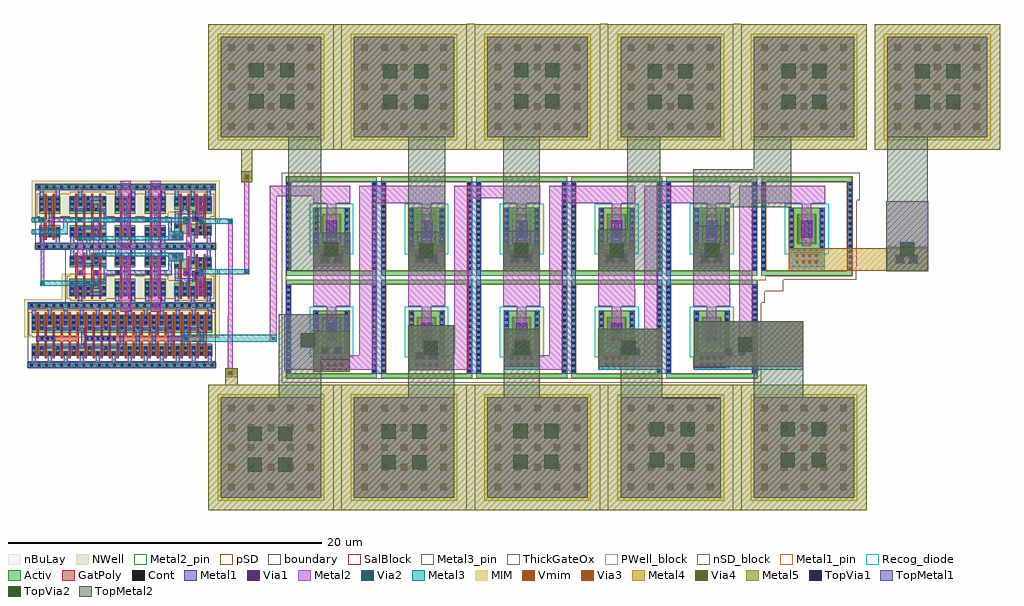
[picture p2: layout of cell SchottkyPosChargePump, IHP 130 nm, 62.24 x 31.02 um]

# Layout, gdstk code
from math import pi, radians
import gdstk
lib = gdstk.Library(unit=1e-6, precision=1e-09)
def R(c, l, rs):  # rectangles x0, y0, x1, y1
    for r in rs: c.add(gdstk.rectangle(r[:2], r[2:], *l))
def A(c, l, x, y, w, h, nx, ny, dx, dy):  # array of equal rectangles
    R(c, l, [(x+i*dx, y+j*dy, x+i*dx+w, y+j*dy+h) for i in range(nx) for j in range(ny)])
Activ = (1, 0)
GatPoly = (5, 0)
Cont = (6, 0)
nSD_block = (7, 21)
Metal1 = (8, 0)
Metal1_pin = (8, 2)
Metal2 = (10, 0)
Metal2_pin = (10, 2)
pSD = (14, 0)
Via1 = (19, 0)
SalBlock = (28, 0)
Via2 = (29, 0)
Metal3 = (30, 0)
Metal3_pin = (30, 2)
NWell = (31, 0)
nBuLay = (32, 0)
MIM = (36, 0)
ThickGateOx = (44, 0)
PWell_block = (46, 21)
Via3 = (49, 0)
Metal4 = (50, 0)
Via4 = (66, 0)
Metal5 = (67, 0)
Recog_diode = (99, 31)
TopVia1 = (125, 0)
TopMetal1 = (126, 0)
Vmim = (129, 0)
TopVia2 = (133, 0)
TopMetal2 = (134, 0)
boundary = (189, 4)

cap_cmim_5wsptj = lib.new_cell('cap_cmim_5WSPTJ')
R(cap_cmim_5wsptj, MIM, [(-3.4,-3.4,3.4,3.4)])
R(cap_cmim_5wsptj, Metal5, [(-4,-4,4,4)])
R(cap_cmim_5wsptj, TopMetal1, [(-3.2,-3.2,3.2,3.2)])
A(cap_cmim_5wsptj, Vmim, -2.73, -2.73, 0.42, 0.42, 5, 5, 1.26, 1.26)
R(cap_cmim_5wsptj, boundary, [(-4,-4,4,4)])
cap_cmim_5wsptj.add(gdstk.Label('C1', (0,0), layer=126, texttype=25))
cap_cmim_5wsptj.add(gdstk.Label('C2', (3.5,0), layer=67, texttype=25))

cmim = lib.new_cell('cmim')
cmim.add(gdstk.Reference(cap_cmim_5wsptj, (4,4)))

schottky_nbl1 = lib.new_cell('schottky_nbl1')
R(schottky_nbl1, Activ, [(-2.3,-2.38,3.5,-2.08), (-2.3,-2.08,-2,3.62), (3.2,-2.08,3.5,3.62), (-0.55,-0.4,1.75,2.3), (-2.3,3.62,3.5,3.92)])
A(schottky_nbl1, Cont, -2.23, -1.99, 0.16, 0.16, 1, 3, 0, 0.355)
A(schottky_nbl1, Cont, 3.27, -1.99, 0.16, 0.16, 1, 3, 0, 0.355)
A(schottky_nbl1, Cont, -0.45, 0.08, 0.16, 0.16, 1, 3, 0, 0.395)
A(schottky_nbl1, Cont, 1.49, 0.08, 0.16, 0.16, 1, 3, 0, 0.395)
A(schottky_nbl1, Cont, -0.45, 1.26, 0.16, 0.16, 1, 3, 0, 0.395)
A(schottky_nbl1, Cont, 1.49, 1.26, 0.16, 0.16, 1, 3, 0, 0.395)
R(schottky_nbl1, Cont, [(-2.23,-0.92,-2.07,-0.76), (3.27,-0.92,3.43,-0.76), (-2.23,-0.565,-2.07,-0.405), (3.27,-0.565,3.43,-0.405), (-0.45,-0.31,-0.29,-0.15), (1.49,-0.31,1.65,-0.15), (-2.23,-0.205,-2.07,-0.045), (3.27,-0.205,3.43,-0.045), (-2.23,0.15,-2.07,0.31), (3.27,0.15,3.43,0.31), (0.45,0.45,0.75,1.45), (-2.23,0.51,-2.07,0.67), (3.27,0.51,3.43,0.67), (-2.23,0.865,-2.07,1.025), (3.27,0.865,3.43,1.025), (-2.23,1.225,-2.07,1.385), (3.27,1.225,3.43,1.385), (-2.23,1.58,-2.07,1.74), (3.27,1.58,3.43,1.74), (-2.23,1.94,-2.07,2.1), (3.27,1.94,3.43,2.1), (-2.23,2.295,-2.07,2.455), (3.27,2.295,3.43,2.455), (-2.23,2.655,-2.07,2.815), (3.27,2.655,3.43,2.815), (-2.23,3.01,-2.07,3.17), (3.27,3.01,3.43,3.17), (-2.23,3.37,-2.07,3.53), (3.27,3.37,3.43,3.53)])
R(schottky_nbl1, nSD_block, [(0.05,0.05,1.15,1.85)])
R(schottky_nbl1, Metal1, [(-2.3,-2.08,-2,3.62), (3.2,-2.08,3.5,3.62), (-0.55,-0.4,-0.23,2.3), (1.43,-0.4,1.75,2.3), (0.25,0.38,0.95,1.52), (-0.55,2.3,1.75,3.355)])
R(schottky_nbl1, Metal2, [(-0.58,-1.815,1.78,-0.695), (0.295,-0.695,0.905,2.005)])
R(schottky_nbl1, pSD, [(-2.33,-2.41,3.53,-2.05), (-2.33,-2.05,-1.97,3.59), (3.17,-2.05,3.53,3.59), (-2.33,3.59,3.53,3.95)])
A(schottky_nbl1, Via1, 0.3, 0.43, 0.19, 0.19, 1, 3, 0, 0.425)
A(schottky_nbl1, Via1, 0.71, 0.43, 0.19, 0.19, 1, 3, 0, 0.425)
R(schottky_nbl1, SalBlock, [(0,0,1.2,1.9)])
R(schottky_nbl1, NWell, [(-0.8,-0.65,2,0.15), (-0.8,0.15,0.15,1.75), (1.05,0.15,2,1.75), (-0.8,1.75,2,2.55)])
R(schottky_nbl1, nBuLay, [(-0.55,-0.42,1.75,2.32)])
R(schottky_nbl1, ThickGateOx, [(-2.57,-2.65,4,-0.895), (-2.575,-1.895,3.85,-1.81), (-2.58,-1.81,3.78,3.35), (-2.575,3.35,3.775,3.445), (-2.57,3.445,3.77,4.19)])
R(schottky_nbl1, PWell_block, [(0.2,0.2,1,1.7)])
R(schottky_nbl1, Recog_diode, [(-0.8,-0.65,2,2.55)])

sg13g2_nor2_2 = lib.new_cell('sg13g2_nor2_2')
R(sg13g2_nor2_2, Activ, [(0,-0.15,2.88,0.15), (0.28,0.59,2.62,1.33), (0.26,2.06,2.62,3.18), (0,3.63,2.88,3.93)])
A(sg13g2_nor2_2, GatPoly, 0.62, 0.41, 0.13, 1.12, 4, 1, 0.51, 0)
A(sg13g2_nor2_2, GatPoly, 0.62, 1.84, 0.13, 1.52, 4, 1, 0.51, 0)
R(sg13g2_nor2_2, GatPoly, [(0.62,1.53,1.26,1.84), (1.64,1.53,2.28,1.84)])
A(sg13g2_nor2_2, Cont, 0.16, -0.08, 0.16, 0.16, 6, 2, 0.48, 3.78)
A(sg13g2_nor2_2, Cont, 0.35, 0.66, 0.16, 0.16, 5, 1, 0.51, 0)
A(sg13g2_nor2_2, Cont, 0.35, 2.61, 0.16, 0.16, 3, 2, 0.51, 0.34)
R(sg13g2_nor2_2, Cont, [(0.35,1,0.51,1.16), (0.86,1,1.02,1.16), (1.88,1,2.04,1.16), (0.86,1.605,1.02,1.765), (1.88,1.605,2.04,1.765), (0.35,2.27,0.51,2.43), (1.37,2.27,1.53,2.43), (1.88,2.27,2.04,2.43), (2.39,2.61,2.55,2.77), (2.39,2.95,2.55,3.11)])
R(sg13g2_nor2_2, Metal1, [(0,-0.22,2.88,0.22), (0.3,0.22,0.56,1.21), (1.32,0.22,1.58,0.87), (2.34,0.22,2.6,0.865), (1.83,0.59,2.085,1.075), (0.81,0.61,1.065,1.075), (0.81,1.075,2.6,1.24), (2.44,1.24,2.6,2.22), (0.75,1.53,1.13,1.84), (1.77,1.53,2.15,1.84), (0.3,2.22,1.58,2.38), (1.78,2.22,2.6,2.38), (0.3,2.38,0.56,3.16), (1.32,2.38,1.58,2.9), (1.78,2.38,2.09,2.72), (0.81,2.56,1.07,3.56), (2.34,2.56,2.6,2.9), (1.32,2.9,2.6,3.16), (0,3.56,2.88,4)])
R(sg13g2_nor2_2, Metal1_pin, [(0,-0.22,2.88,0.22), (0.75,1.53,1.13,1.84), (1.77,1.53,2.15,1.84), (1.78,2.22,2.09,2.72), (0,3.56,2.88,4)])
R(sg13g2_nor2_2, pSD, [(-0.03,-0.18,2.91,0.18), (0.32,1.76,2.58,1.88), (0.08,1.88,2.8,3.36), (0.32,3.36,2.58,3.48)])
R(sg13g2_nor2_2, NWell, [(-0.24,1.75,3.12,4.17)])
R(sg13g2_nor2_2, boundary, [(0,0,2.88,3.78)])
sg13g2_nor2_2.add(gdstk.Label('A', (0.94,1.685), layer=8, texttype=25))
sg13g2_nor2_2.add(gdstk.Label('VDD', (1.44,3.78), layer=8, texttype=25))
sg13g2_nor2_2.add(gdstk.Label('Y', (1.935,2.47), layer=8, texttype=25))
sg13g2_nor2_2.add(gdstk.Label('VSS', (1.44,0), layer=8, texttype=25))
sg13g2_nor2_2.add(gdstk.Label('B', (1.96,1.685), layer=8, texttype=25))

sg13g2_inv_2 = lib.new_cell('sg13g2_inv_2')
R(sg13g2_inv_2, Activ, [(0,-0.15,1.92,0.15), (0.265,0.59,1.585,1.33), (0.265,2.06,1.59,3.18), (0,3.63,1.92,3.93)])
R(sg13g2_inv_2, GatPoly, [(0.605,0.41,0.735,1.52), (1.115,0.41,1.245,1.52), (0.305,1.52,1.245,1.67), (0.305,1.67,0.735,1.85), (1.115,1.67,1.245,3.36), (0.605,1.85,0.735,3.36)])
A(sg13g2_inv_2, Cont, 0.16, -0.08, 0.16, 0.16, 4, 2, 0.48, 3.78)
A(sg13g2_inv_2, Cont, 0.335, 0.66, 0.16, 0.16, 3, 2, 0.51, 0.34)
A(sg13g2_inv_2, Cont, 0.335, 2.27, 0.16, 0.16, 1, 3, 0, 0.34)
A(sg13g2_inv_2, Cont, 0.845, 2.27, 0.16, 0.16, 1, 3, 0, 0.34)
A(sg13g2_inv_2, Cont, 1.36, 2.27, 0.16, 0.16, 1, 3, 0, 0.34)
R(sg13g2_inv_2, Cont, [(0.39,1.605,0.55,1.765)])
R(sg13g2_inv_2, Metal1, [(0,-0.22,1.92,0.22), (0.285,0.22,0.545,1.21), (1.305,0.22,1.565,1.21), (0.795,0.61,1.055,1.21), (0.87,1.21,1.055,1.52), (0.255,1.52,0.635,1.85), (0.87,1.52,1.59,1.85), (0.87,1.85,1.055,2.22), (0.285,2.22,0.545,3.56), (0.795,2.22,1.055,3.18), (1.31,2.22,1.57,3.56), (0,3.56,1.92,4)])
R(sg13g2_inv_2, Metal1_pin, [(0,-0.22,1.92,0.22), (0.255,1.52,0.635,1.85), (0.87,1.52,1.59,1.85), (0,3.56,1.92,4)])
R(sg13g2_inv_2, pSD, [(-0.03,-0.18,1.95,0.18), (0.305,1.76,1.545,1.88), (0.085,1.88,1.77,3.36), (0.305,3.36,1.545,3.48)])
R(sg13g2_inv_2, NWell, [(-0.24,1.75,2.16,4.17)])
R(sg13g2_inv_2, boundary, [(0,0,1.92,3.78)])
sg13g2_inv_2.add(gdstk.Label('VSS', (0.96,0), layer=8, texttype=25))
sg13g2_inv_2.add(gdstk.Label('VDD', (0.96,3.78), layer=8, texttype=25))
sg13g2_inv_2.add(gdstk.Label('Y', (1.23,1.685), layer=8, texttype=25))
sg13g2_inv_2.add(gdstk.Label('A', (0.445,1.685), layer=8, texttype=25))

sg13g2_and2_2 = lib.new_cell('sg13g2_and2_2')
R(sg13g2_and2_2, Activ, [(0,-0.15,2.88,0.15), (1.355,0.7,2.605,0.8), (0.225,0.8,2.605,1.44), (1.355,2.06,2.605,2.34), (0.225,2.34,2.605,3.18), (0,3.63,2.88,3.93)])
A(sg13g2_and2_2, GatPoly, 1.075, 1.9, 0.13, 1.46, 3, 1, 0.51, 0)
R(sg13g2_and2_2, GatPoly, [(0.105,0.41,0.775,0.73), (1.585,0.52,1.715,1.57), (2.095,0.52,2.225,1.57), (1.075,0.62,1.205,1.57), (0.565,0.73,0.695,3.36), (0.875,1.57,1.205,1.9), (1.385,1.57,2.225,1.9)])
A(sg13g2_and2_2, Cont, 0.16, -0.08, 0.16, 0.16, 6, 2, 0.48, 3.78)
A(sg13g2_and2_2, Cont, 0.295, 2.61, 0.16, 0.16, 5, 2, 0.51, 0.34)
R(sg13g2_and2_2, Cont, [(0.19,0.48,0.35,0.64), (0.53,0.48,0.69,0.64), (1.825,0.77,1.985,0.93), (2.335,0.77,2.495,0.93), (1.315,0.935,1.475,1.095), (1.825,1.11,1.985,1.27), (2.335,1.11,2.495,1.27), (0.295,1.18,0.455,1.34), (0.96,1.655,1.12,1.815), (1.53,1.655,1.69,1.815), (1.825,2.27,1.985,2.43), (2.335,2.27,2.495,2.43)])
R(sg13g2_and2_2, Metal1, [(0,-0.22,2.88,0.22), (1.265,0.22,1.525,1.145), (2.285,0.22,2.545,1.32), (0.105,0.405,0.78,0.96), (1.775,0.72,2.105,1.32), (0.245,1.14,0.505,2.05), (1.92,1.32,2.105,2.22), (0.78,1.47,1.17,1.87), (1.4,1.57,1.74,1.9), (1.4,1.9,1.56,2.05), (0.245,2.05,1.56,2.24), (1.775,2.22,2.105,3.16), (2.285,2.22,2.545,3.56), (0.755,2.24,1.015,3.16), (0.245,2.56,0.505,3.56), (1.265,2.56,1.525,3.56), (0,3.56,2.88,4)])
R(sg13g2_and2_2, Metal1_pin, [(0,-0.22,2.88,0.22), (0.105,0.405,0.78,0.96), (0.78,1.47,1.17,1.87), (1.775,2.22,2.105,3.16), (0,3.56,2.88,4)])
R(sg13g2_and2_2, pSD, [(-0.03,-0.18,2.91,0.18), (1.285,1.76,2.525,1.88), (1.175,1.88,2.785,2.04), (0.265,2.04,2.785,2.16), (0.045,2.16,2.785,3.36), (0.265,3.36,2.525,3.48)])
R(sg13g2_and2_2, NWell, [(-0.24,1.75,3.12,4.17)])
R(sg13g2_and2_2, boundary, [(0,0,2.88,3.78)])
sg13g2_and2_2.add(gdstk.Label('X', (1.94,2.69), layer=8, texttype=25))
sg13g2_and2_2.add(gdstk.Label('VSS', (1.44,0), layer=8, texttype=25))
sg13g2_and2_2.add(gdstk.Label('VDD', (1.44,3.78), layer=8, texttype=25))
sg13g2_and2_2.add(gdstk.Label('B', (0.975,1.67), layer=8, texttype=25))
sg13g2_and2_2.add(gdstk.Label('A', (0.442,0.682), layer=8, texttype=25))

nonovclkgen = lib.new_cell('NonOvCLKGen')
R(nonovclkgen, Metal1, [(16.45,20.35,16.77,20.64), (19.39,21.17,19.62,22.01), (13.29,22.43,14.37,22.76), (15.32,22.43,16.29,22.76), (17.17,22.43,17.63,22.76), (18.43,22.48,18.66,22.74), (11.69,22.49,11.9,22.7), (12.71,22.49,12.91,22.69), (17.4,22.76,17.62,23.32), (17.4,23.32,18.35,23.88), (14.53,24.14,14.85,24.43), (17.4,24.68,18.35,25.24), (17.4,25.24,17.63,25.8), (10.52,25.8,11.98,26.13), (13.29,25.8,14.37,26.13), (15.32,25.8,16.29,26.13), (17.24,25.8,17.63,26.13), (18.41,25.81,18.67,26.09), (9.29,25.86,9.51,26.07), (12.71,25.87,12.91,26.07), (19.4,26.55,19.63,27.39), (16.45,27.91,16.77,28.2)])
R(nonovclkgen, Metal2, [(14.37,20.11,15.01,28.45), (16.29,20.11,16.93,28.45), (19.34,21.12,19.68,22.84), (9.29,21.78,9.51,25.8), (12.66,21.78,12.96,22.44), (18.35,22.41,18.87,22.81), (11.6,22.44,11.98,24.92), (12.62,22.44,13,22.75), (18.56,22.81,18.87,25.75), (17.4,23.32,18.35,23.88), (12.62,23.64,13,26.12), (17.4,24.68,18.35,25.24), (19.34,25.72,19.68,27.44), (18.35,25.75,18.87,26.15), (9.12,25.8,9.57,26.13)])
R(nonovclkgen, Metal2_pin, [(14.37,28.28,15.01,28.45), (16.29,28.28,16.93,28.45)])
R(nonovclkgen, pSD, [(13.65,20.92,13.815,22.4), (15.5,20.92,15.735,22.4), (17.42,20.92,17.615,22.12), (10.7,26.16,10.93,27.64), (13.65,26.16,13.815,27.64), (15.5,26.16,15.735,27.64), (17.42,26.44,17.615,27.64)])
R(nonovclkgen, Via1, [(16.515,20.4,16.705,20.59), (19.41,21.29,19.6,21.48), (19.41,21.7,19.6,21.89), (12.715,22.495,12.905,22.685), (11.7,22.5,11.89,22.69), (18.45,22.515,18.64,22.705), (17.765,23.5,17.955,23.69), (14.595,24.19,14.785,24.38), (17.75,24.85,17.94,25.04), (18.445,25.855,18.635,26.045), (9.305,25.87,9.495,26.06), (12.715,25.875,12.905,26.065), (19.42,26.67,19.61,26.86), (19.42,27.08,19.61,27.27), (16.515,27.96,16.705,28.15)])
R(nonovclkgen, Via2, [(12.715,21.835,12.905,22.025), (9.305,21.845,9.495,22.035), (19.42,22.58,19.61,22.77), (17.765,23.5,17.955,23.69), (12.715,23.665,12.905,23.855), (11.695,24.705,11.885,24.895), (17.75,24.85,17.94,25.04), (19.42,25.79,19.61,25.98), (18.445,25.855,18.635,26.045), (9.305,25.87,9.495,26.06)])
R(nonovclkgen, Metal3, [(9.24,21.78,13,22.09), (19.34,22.51,20.69,22.82), (17.4,23.32,18.35,23.64), (12.62,23.64,18.35,23.88), (11.6,24.62,11.98,24.68), (11.6,24.68,18.35,24.92), (17.4,24.92,18.35,25.24), (8.69,25.05,11.01,25.36), (10.7,25.36,11.01,25.81), (19.34,25.72,20.69,26.03), (18.35,25.75,18.74,25.81), (8.69,25.81,9.56,26.12), (10.7,25.81,18.74,26.09), (18.35,26.09,18.74,26.15)])
R(nonovclkgen, Metal3_pin, [(20.52,22.51,20.69,22.82), (8.69,25.05,8.85,25.36), (20.54,25.72,20.69,26.03), (8.69,25.81,8.85,26.12)])
nonovclkgen.add(gdstk.Reference(sg13g2_nor2_2, (10.85,24.28), x_reflection=True))
nonovclkgen.add(gdstk.Reference(sg13g2_nor2_2, (10.85,24.28)))
nonovclkgen.add(gdstk.Reference(sg13g2_inv_2, (15.65,24.28), x_reflection=True))
nonovclkgen.add(gdstk.Reference(sg13g2_inv_2, (13.73,24.28), x_reflection=True))
nonovclkgen.add(gdstk.Reference(sg13g2_inv_2, (15.65,24.28)))
nonovclkgen.add(gdstk.Reference(sg13g2_inv_2, (13.73,24.28)))
nonovclkgen.add(gdstk.Reference(sg13g2_inv_2, (8.93,24.28)))
nonovclkgen.add(gdstk.Reference(sg13g2_and2_2, (17.57,24.28), x_reflection=True))
nonovclkgen.add(gdstk.Reference(sg13g2_and2_2, (17.57,24.28)))
nonovclkgen.add(gdstk.Label('CLK', (8.77,25.965), layer=30, texttype=25))
nonovclkgen.add(gdstk.Label('ENABLE', (8.77,25.205), layer=30, texttype=25))
nonovclkgen.add(gdstk.Label('CLKA', (20.615,25.875), layer=30, texttype=25))
nonovclkgen.add(gdstk.Label('CLKB', (20.605,22.665), layer=30, texttype=25))
nonovclkgen.add(gdstk.Label('VSS', (14.69,28.365), layer=10, texttype=25))
nonovclkgen.add(gdstk.Label('VDD', (16.61,28.365), layer=10, texttype=25))

sg13g2_buf_16 = lib.new_cell('sg13g2_buf_16')
R(sg13g2_buf_16, Activ, [(0,-0.15,12,0.15), (0.24,0.59,11.76,1.33), (0.225,2.06,11.76,3.18), (0,3.63,12,3.93)])
A(sg13g2_buf_16, GatPoly, 0.58, 0.41, 0.13, 1.11, 22, 1, 0.51, 0)
A(sg13g2_buf_16, GatPoly, 0.58, 1.85, 0.13, 1.51, 22, 1, 0.51, 0)
R(sg13g2_buf_16, GatPoly, [(0.58,1.52,8.36,1.85), (8.74,1.52,11.46,1.85)])
A(sg13g2_buf_16, Cont, 0.16, -0.08, 0.16, 0.16, 25, 2, 0.48, 3.78)
A(sg13g2_buf_16, Cont, 0.31, 0.66, 0.16, 0.16, 23, 2, 0.51, 1.95)
A(sg13g2_buf_16, Cont, 0.82, 1, 0.16, 0.16, 3, 1, 1.02, 0)
A(sg13g2_buf_16, Cont, 3.37, 1, 0.16, 0.16, 6, 1, 0.51, 0)
A(sg13g2_buf_16, Cont, 6.94, 1, 0.16, 0.16, 5, 1, 1.02, 0)
A(sg13g2_buf_16, Cont, 6.43, 1.605, 0.16, 0.16, 6, 1, 0.34, 0)
A(sg13g2_buf_16, Cont, 10.335, 1.605, 0.16, 0.16, 3, 1, 0.34, 0)
A(sg13g2_buf_16, Cont, 1.84, 2.27, 0.16, 0.16, 3, 1, 0.51, 0)
A(sg13g2_buf_16, Cont, 3.88, 2.27, 0.16, 0.16, 8, 1, 1.02, 0)
A(sg13g2_buf_16, Cont, 0.31, 2.95, 0.16, 0.16, 23, 1, 0.51, 0)
R(sg13g2_buf_16, Cont, [(0.31,1,0.47,1.16), (11.53,1,11.69,1.16), (1.33,1.005,1.49,1.165), (2.35,1.005,2.51,1.165), (11.53,2.265,11.69,2.425), (0.31,2.27,0.47,2.43), (0.82,2.27,0.98,2.43)])
A(sg13g2_buf_16, Metal1, 0.26, 0.22, 0.26, 0.99, 3, 1, 1.02, 0)
A(sg13g2_buf_16, Metal1, 3.32, 0.22, 0.26, 0.975, 3, 1, 1.02, 0)
A(sg13g2_buf_16, Metal1, 5.87, 0.61, 0.26, 0.44, 6, 1, 1.02, 0)
A(sg13g2_buf_16, Metal1, 0.77, 2.36, 0.26, 0.8, 11, 1, 1.02, 0)
A(sg13g2_buf_16, Metal1, 3.32, 2.54, 0.26, 1.02, 7, 1, 1.02, 0)
R(sg13g2_buf_16, Metal1, [(0,-0.22,12,0.22), (6.38,0.22,6.64,0.87), (7.4,0.22,7.66,0.87), (8.42,0.22,8.685,0.87), (9.44,0.22,9.7,0.87), (10.46,0.22,10.72,0.87), (11.48,0.22,11.74,1.21), (0.77,0.61,1.03,2.2), (1.79,0.61,2.05,1.52), (2.81,0.61,3.07,1.52), (3.83,0.61,4.09,2.2), (4.85,0.61,5.11,2.2), (5.87,1.05,8.17,1.22), (8.385,1.05,11.23,1.22), (5.87,1.22,6.13,2.2), (8.385,1.22,8.595,1.52), (1.79,1.52,3.07,1.85), (6.395,1.52,8.595,1.85), (10.26,1.52,11.44,1.85), (1.79,1.85,2.05,2.2), (2.81,1.85,3.07,2.2), (8.385,1.85,8.595,2.2), (0.77,2.2,2.05,2.36), (2.81,2.2,8.17,2.36), (8.385,2.2,11.23,2.36), (11.48,2.215,11.74,3.56), (0.26,2.22,0.52,3.56), (2.3,2.22,2.56,3.56), (1.28,2.54,1.54,3.56), (10.46,2.545,10.72,3.56), (0,3.56,12,4)])
R(sg13g2_buf_16, Metal1_pin, [(0,-0.22,12,0.22), (1.79,1.52,3.07,1.85), (10.26,1.52,11.44,1.85), (0,3.56,12,4)])
R(sg13g2_buf_16, pSD, [(-0.03,-0.18,12.03,0.18), (0.28,1.76,11.72,1.88), (0.045,1.88,11.94,3.36), (0.28,3.36,11.72,3.48)])
R(sg13g2_buf_16, NWell, [(-0.24,1.75,12.24,4.17)])
R(sg13g2_buf_16, boundary, [(0,0,12,3.78)])
sg13g2_buf_16.add(gdstk.Label('A', (10.85,1.685), layer=8, texttype=25))
sg13g2_buf_16.add(gdstk.Label('VDD', (6,3.78), layer=8, texttype=25))
sg13g2_buf_16.add(gdstk.Label('VSS', (6,0), layer=8, texttype=25))
sg13g2_buf_16.add(gdstk.Label('X', (2.43,1.685), layer=8, texttype=25))

schottkyposchargepump = lib.new_cell('SchottkyPosChargePump')
A(schottkyposchargepump, Metal1, 30.48, 3.615, 1.77, 1.055, 3, 1, 6.06, 0)
A(schottkyposchargepump, Metal1, 18.41, 10.35, 1.66, 0.69, 6, 1, 6.06, 0)
R(schottkyposchargepump, Metal1, [(21.84,3.34,22.7,15.62), (27.9,3.34,28.76,15.61), (33.96,3.35,34.82,15.62), (40.02,3.35,40.88,15.62), (18.41,3.79,20.07,4.48), (24.47,3.79,26.13,4.48), (30.48,4.67,30.53,4.9), (32.19,4.67,32.25,4.9), (36.54,4.67,36.59,4.89), (38.25,4.67,38.31,4.89), (42.6,4.67,42.65,4.89), (44.31,4.67,44.37,4.89), (9.8,5.49,10.03,5.72)])
A(schottkyposchargepump, Metal2, 30.21, 3.61, 3.75, 0.91, 3, 1, 6.06, 0)
A(schottkyposchargepump, Metal2, 33.13, 4.52, 0.83, 9.7, 3, 1, 6.06, 0)
R(schottkyposchargepump, Metal2, [(12.63,3.22,12.93,5.56), (18.09,3.48,20.39,3.61), (18.09,3.61,22.1,4.54), (24.15,3.61,28,4.52), (27.07,4.52,28,14.55), (18.09,4.54,20.39,4.65), (21.01,4.54,22.1,14.23), (9.7,5.39,10.14,5.83), (15.3,5.39,15.76,14.66), (12.63,5.56,12.94,7.02), (12.64,7.02,12.94,13.23), (24.12,7.665,26.48,11.15), (36.24,8.7,38.57,11.09), (18.06,8.73,20.42,11.09), (30.18,8.78,32.51,11.09), (42.3,8.78,44.63,11.09), (13.68,9.71,13.99,16.07), (48.39,9.91,50.69,11.09), (33.13,14.22,36.33,15.35), (39.19,14.22,42.37,15.35), (45.25,14.22,48.49,15.35), (21.01,14.23,24.45,15.34), (27.07,14.55,30.75,15.35), (15.3,14.66,20.42,15.35)])
A(schottkyposchargepump, pSD, 22.17, 3.02, 0.2, 6.36, 4, 1, 6.06, 0)
A(schottkyposchargepump, pSD, 22.17, 9.58, 0.2, 6.36, 5, 1, 6.06, 0)
R(schottkyposchargepump, pSD, [(46.41,9.325,46.92,9.38), (16.31,9.38,46.92,9.58)])
A(schottkyposchargepump, Via1, 18.535, 3.835, 0.19, 0.19, 4, 2, 0.41, 0.41)
A(schottkyposchargepump, Via1, 24.59, 3.835, 0.19, 0.19, 4, 2, 0.41, 0.41)
A(schottkyposchargepump, Via1, 30.65, 3.835, 0.19, 0.19, 4, 2, 0.41, 0.41)
A(schottkyposchargepump, Via1, 36.71, 3.835, 0.19, 0.19, 4, 2, 0.41, 0.41)
A(schottkyposchargepump, Via1, 42.77, 3.835, 0.19, 0.19, 4, 2, 0.41, 0.41)
A(schottkyposchargepump, Via1, 18.53, 10.395, 0.19, 0.19, 4, 2, 0.41, 0.41)
A(schottkyposchargepump, Via1, 24.59, 10.395, 0.19, 0.19, 4, 2, 0.41, 0.41)
A(schottkyposchargepump, Via1, 30.65, 10.395, 0.19, 0.19, 4, 2, 0.41, 0.41)
A(schottkyposchargepump, Via1, 36.71, 10.395, 0.19, 0.19, 4, 2, 0.41, 0.41)
A(schottkyposchargepump, Via1, 42.77, 10.395, 0.19, 0.19, 4, 2, 0.41, 0.41)
A(schottkyposchargepump, Via1, 48.83, 10.395, 0.19, 0.19, 4, 2, 0.41, 0.41)
R(schottkyposchargepump, Via1, [(9.82,5.51,10.01,5.7)])
A(schottkyposchargepump, Via2, 18.535, 3.835, 0.19, 0.19, 4, 2, 0.41, 0.41)
A(schottkyposchargepump, Via2, 24.59, 3.835, 0.19, 0.19, 4, 2, 0.41, 0.41)
A(schottkyposchargepump, Via2, 30.65, 3.835, 0.19, 0.19, 4, 2, 0.41, 0.41)
A(schottkyposchargepump, Via2, 36.71, 3.835, 0.19, 0.19, 4, 2, 0.41, 0.41)
A(schottkyposchargepump, Via2, 42.77, 3.835, 0.19, 0.19, 4, 2, 0.41, 0.41)
A(schottkyposchargepump, Via2, 18.53, 10.395, 0.19, 0.19, 4, 2, 0.41, 0.41)
A(schottkyposchargepump, Via2, 24.59, 10.395, 0.19, 0.19, 4, 2, 0.41, 0.41)
A(schottkyposchargepump, Via2, 30.65, 10.395, 0.19, 0.19, 4, 2, 0.41, 0.41)
A(schottkyposchargepump, Via2, 36.71, 10.395, 0.19, 0.19, 4, 2, 0.41, 0.41)
A(schottkyposchargepump, Via2, 42.77, 10.395, 0.19, 0.19, 4, 2, 0.41, 0.41)
A(schottkyposchargepump, Via2, 48.83, 10.395, 0.19, 0.19, 4, 2, 0.41, 0.41)
R(schottkyposchargepump, Via2, [(12.695,3.305,12.885,3.495), (15.425,5.505,15.615,5.695), (9.82,5.51,10.01,5.7), (13.75,9.765,13.94,9.955), (12.695,12.975,12.885,13.165), (13.735,15.795,13.925,15.985)])
R(schottkyposchargepump, Metal3, [(12.45,3.12,13.26,3.71), (18.09,3.48,20.4,6.06), (24.14,3.59,27.07,6.46), (36.26,3.6,40.34,6.22), (42.33,3.6,49.33,6.69), (30.21,3.61,32.52,6.22), (9.7,5.39,15.76,5.83), (11.93,9.71,14.01,10.02), (42.3,9.89,44.63,11.57), (24.12,9.9,26.48,11.55), (30.18,9.9,32.51,11.56), (36.24,9.9,38.57,11.57), (48.39,9.91,50.69,11.32), (18.06,10.17,20.42,11.47), (12.06,12.92,12.94,13.23), (13.47,15.55,14.19,16.27)])
R(schottkyposchargepump, ThickGateOx, [(46.66,8.625,48.06,8.78), (16.06,8.78,16.065,8.875), (46.655,8.78,48.06,9.995), (16.06,8.875,16.07,10.095), (46.65,9.33,47.21,9.335), (46.65,9.335,47.125,9.34), (16.06,10.095,16.065,10.18)])
A(schottkyposchargepump, Via3, 18.535, 3.835, 0.19, 0.19, 4, 2, 0.41, 0.41)
A(schottkyposchargepump, Via3, 24.59, 3.835, 0.19, 0.19, 4, 2, 0.41, 0.41)
A(schottkyposchargepump, Via3, 30.65, 3.835, 0.19, 0.19, 4, 2, 0.41, 0.41)
A(schottkyposchargepump, Via3, 36.71, 3.835, 0.19, 0.19, 4, 2, 0.41, 0.41)
A(schottkyposchargepump, Via3, 42.77, 3.835, 0.19, 0.19, 4, 2, 0.41, 0.41)
A(schottkyposchargepump, Via3, 18.53, 10.395, 0.19, 0.19, 4, 2, 0.41, 0.41)
A(schottkyposchargepump, Via3, 24.59, 10.395, 0.19, 0.19, 4, 2, 0.41, 0.41)
A(schottkyposchargepump, Via3, 30.65, 10.395, 0.19, 0.19, 4, 2, 0.41, 0.41)
A(schottkyposchargepump, Via3, 36.71, 10.395, 0.19, 0.19, 4, 2, 0.41, 0.41)
A(schottkyposchargepump, Via3, 42.77, 10.395, 0.19, 0.19, 4, 2, 0.41, 0.41)
A(schottkyposchargepump, Via3, 48.83, 10.395, 0.19, 0.19, 4, 2, 0.41, 0.41)
R(schottkyposchargepump, Via3, [(12.69,3.305,12.88,3.495), (13.735,15.795,13.925,15.985)])
R(schottkyposchargepump, Metal4, [(12.45,3.12,13.26,3.71), (18.09,3.48,20.4,6.06), (24.14,3.59,27.07,6.46), (42.32,3.75,44.43,3.8), (30.21,3.79,32.52,6.22), (36.26,3.79,40.34,6.22), (42.32,3.8,49.33,4.45), (42.33,4.45,49.33,6.69), (42.3,9.89,44.63,11.57), (24.12,9.9,26.48,11.55), (30.18,9.9,32.51,11.56), (36.24,9.9,38.57,11.57), (48.39,9.91,57.27,11.36), (18.06,10.17,20.42,11.47), (13.47,15.55,14.19,16.27)])
A(schottkyposchargepump, Via4, 18.535, 3.835, 0.19, 0.19, 4, 2, 0.41, 0.41)
A(schottkyposchargepump, Via4, 24.59, 3.835, 0.19, 0.19, 4, 2, 0.41, 0.41)
A(schottkyposchargepump, Via4, 30.65, 3.835, 0.19, 0.19, 4, 2, 0.41, 0.41)
A(schottkyposchargepump, Via4, 36.71, 3.835, 0.19, 0.19, 4, 2, 0.41, 0.41)
A(schottkyposchargepump, Via4, 42.77, 3.835, 0.19, 0.19, 4, 2, 0.41, 0.41)
A(schottkyposchargepump, Via4, 55.2, 10.355, 0.19, 0.19, 4, 2, 0.41, 0.41)
A(schottkyposchargepump, Via4, 18.53, 10.395, 0.19, 0.19, 4, 2, 0.41, 0.41)
A(schottkyposchargepump, Via4, 24.59, 10.395, 0.19, 0.19, 4, 2, 0.41, 0.41)
A(schottkyposchargepump, Via4, 30.65, 10.395, 0.19, 0.19, 4, 2, 0.41, 0.41)
A(schottkyposchargepump, Via4, 36.71, 10.395, 0.19, 0.19, 4, 2, 0.41, 0.41)
A(schottkyposchargepump, Via4, 42.77, 10.395, 0.19, 0.19, 4, 2, 0.41, 0.41)
R(schottkyposchargepump, Via4, [(12.69,3.31,12.88,3.5), (13.735,15.795,13.925,15.985)])
R(schottkyposchargepump, Metal5, [(19.37,-5.35,19.88,2.64), (27.87,-5.35,28.39,2.65), (36.37,-5.35,36.89,2.65), (44.81,-5.34,45.52,2.65), (12.45,2.24,13.26,3.71), (18.09,3.48,20.4,6.06), (24.14,3.59,27.07,6.46), (42.32,3.75,44.43,3.8), (30.21,3.79,32.52,6.22), (36.26,3.79,40.34,6.22), (42.32,3.8,49.33,4.45), (42.33,4.45,49.33,6.69), (42.3,9.89,44.63,11.57), (24.12,9.9,26.48,11.55), (30.18,9.9,32.51,11.56), (36.24,9.9,38.57,11.57), (18.06,9.91,20.42,11.47), (54.64,9.91,57.28,11.45), (13.47,15.55,14.19,17.92), (19.37,17.64,19.87,25.65), (27.87,17.65,28.37,25.66), (36.37,17.65,36.87,25.66), (44.87,17.65,45.47,18.61), (44.87,18.61,45.37,25.67)])
R(schottkyposchargepump, TopVia1, [(24.67,4.3,25.09,4.72), (25.51,4.3,25.93,4.72), (30.73,4.485,31.15,4.905), (31.57,4.485,31.99,4.905), (44.355,4.52,44.775,4.94), (45.195,4.52,45.615,4.94), (37.63,4.555,38.05,4.975), (38.47,4.555,38.89,4.975), (18.615,4.615,19.035,5.035), (19.455,4.615,19.875,5.035), (55.28,10.445,55.7,10.865), (56.12,10.445,56.54,10.865), (18.61,10.485,19.03,10.905), (19.45,10.485,19.87,10.905), (24.67,10.485,25.09,10.905), (25.51,10.485,25.93,10.905), (30.73,10.485,31.15,10.905), (31.57,10.485,31.99,10.905), (36.79,10.485,37.21,10.905), (37.63,10.485,38.05,10.905), (42.85,10.485,43.27,10.905), (43.69,10.485,44.11,10.905)])
R(schottkyposchargepump, TopMetal1, [(13.02,-3.75,17.61,0.83), (21.57,-3.6,26.16,0.98), (29.98,-3.57,34.57,1.01), (38.68,-3.46,43.27,1.12), (47.03,-3.46,51.62,1.12), (24.14,3.59,27.07,6.46), (16.22,3.61,20.41,7.16), (42.34,3.75,44.43,3.8), (30.21,3.79,32.52,6.22), (36.26,3.79,40.34,6.22), (42.34,3.8,49.33,6.69), (24.12,9.89,26.48,12.41), (42.3,9.89,44.63,12.8), (30.18,9.9,32.52,12.48), (36.24,9.9,38.57,12.57), (54.63,9.9,57.29,14.36), (18.06,9.91,20.42,12.36), (21.68,19.38,26.27,23.96), (38.53,19.38,43.12,23.96), (55.61,19.38,60.2,23.96), (47.08,19.39,51.67,23.97), (13.14,19.43,17.73,24.01), (30.03,19.43,34.62,24.01)])
R(schottkyposchargepump, TopVia2, [(13.885,-2.89,14.785,-1.99), (15.845,-2.89,16.745,-1.99), (22.435,-2.74,23.335,-1.84), (24.395,-2.74,25.295,-1.84), (30.845,-2.71,31.745,-1.81), (32.805,-2.71,33.705,-1.81), (39.545,-2.6,40.445,-1.7), (41.505,-2.6,42.405,-1.7), (47.895,-2.6,48.795,-1.7), (49.855,-2.6,50.755,-1.7), (13.885,-0.93,14.785,-0.03), (15.845,-0.93,16.745,-0.03), (22.435,-0.78,23.335,0.12), (24.395,-0.78,25.295,0.12), (30.845,-0.75,31.745,0.15), (32.805,-0.75,33.705,0.15), (39.545,-0.64,40.445,0.26), (41.505,-0.64,42.405,0.26), (47.895,-0.64,48.795,0.26), (49.855,-0.64,50.755,0.26), (30.935,4.55,31.835,5.45), (25.125,4.56,26.025,5.46), (37.745,4.56,38.645,5.46), (45.185,4.77,46.085,5.67), (17.275,5.05,18.175,5.95), (24.835,10.73,25.735,11.63), (36.985,10.75,37.885,11.65), (30.895,10.76,31.795,11.66), (43.055,10.77,43.955,11.67), (55.515,10.84,56.415,11.74), (18.775,10.85,19.675,11.75), (22.545,20.24,23.445,21.14), (24.505,20.24,25.405,21.14), (39.395,20.24,40.295,21.14), (41.355,20.24,42.255,21.14), (56.475,20.24,57.375,21.14), (58.435,20.24,59.335,21.14), (47.945,20.25,48.845,21.15), (49.905,20.25,50.805,21.15), (14.005,20.29,14.905,21.19), (15.965,20.29,16.865,21.19), (30.895,20.29,31.795,21.19), (32.855,20.29,33.755,21.19), (22.545,22.2,23.445,23.1), (24.505,22.2,25.405,23.1), (39.395,22.2,40.295,23.1), (41.355,22.2,42.255,23.1), (56.475,22.2,57.375,23.1), (58.435,22.2,59.335,23.1), (47.945,22.21,48.845,23.11), (49.905,22.21,50.805,23.11), (14.005,22.25,14.905,23.15), (15.965,22.25,16.865,23.15), (30.895,22.25,31.795,23.15), (32.855,22.25,33.755,23.15)])
A(schottkyposchargepump, TopMetal2, 12.17, -4.55, 6.4, 6.4, 3, 1, 8.5, 0)
A(schottkyposchargepump, TopMetal2, 12.17, 18.45, 6.4, 6.4, 6, 1, 8.5, 0)
R(schottkyposchargepump, TopMetal2, [(37.67,-4.55,44.07,1.8), (46.17,-4.55,52.57,1.85), (37.67,1.8,40.33,1.85), (15.86,1.85,18.57,4.25), (24.14,1.85,27.07,6.45), (30.21,1.85,32.52,6.22), (37.67,1.85,40.32,3.61), (46.17,1.85,49.33,3.8), (37.66,3.61,40.32,3.79), (36.26,3.79,40.32,6.23), (42.35,3.8,49.33,6.69), (15.86,4.25,20.41,7.16), (42.35,6.69,46.55,6.7), (24.12,9.89,26.48,18.45), (38.11,9.89,40.19,9.9), (42.3,9.89,44.63,13.97), (30.18,9.9,32.53,18.45), (36.24,9.9,40.19,12.57), (54.63,9.9,57.29,14.36), (16.47,9.91,20.42,12.36), (16.47,12.36,18.57,18.45), (38.11,12.57,40.19,18.45), (42.3,13.97,48.55,16.4), (54.67,14.36,57.27,18.45), (46.17,16.4,48.55,18.45)])
schottkyposchargepump.add(gdstk.Reference(cmim, (11.37,-5.35)))
schottkyposchargepump.add(gdstk.Reference(cmim, (19.87,-5.35)))
schottkyposchargepump.add(gdstk.Reference(schottky_nbl1, (24.7,6.97), x_reflection=True))
schottkyposchargepump.add(gdstk.Reference(schottky_nbl1, (18.64,6.97), x_reflection=True))
schottkyposchargepump.add(gdstk.Reference(cmim, (28.37,-5.35)))
schottkyposchargepump.add(gdstk.Reference(cmim, (36.87,-5.35)))
schottkyposchargepump.add(gdstk.Reference(schottky_nbl1, (36.82,6.97), x_reflection=True))
schottkyposchargepump.add(gdstk.Reference(schottky_nbl1, (30.76,6.97), x_reflection=True))
schottkyposchargepump.add(gdstk.Reference(cmim, (45.37,-5.35)))
schottkyposchargepump.add(gdstk.Reference(schottky_nbl1, (42.88,6.97), x_reflection=True))
schottkyposchargepump.add(gdstk.Reference(nonovclkgen, (-8.58,-12.8)))
schottkyposchargepump.add(gdstk.Reference(sg13g2_buf_16, (11.87,3.92), rotation=pi, x_reflection=True))
schottkyposchargepump.add(gdstk.Reference(schottky_nbl1, (18.64,13.53), x_reflection=True))
schottkyposchargepump.add(gdstk.Reference(schottky_nbl1, (24.7,13.53), x_reflection=True))
schottkyposchargepump.add(gdstk.Reference(schottky_nbl1, (30.76,13.53), x_reflection=True))
schottkyposchargepump.add(gdstk.Reference(schottky_nbl1, (36.82,13.53), x_reflection=True))
schottkyposchargepump.add(gdstk.Reference(schottky_nbl1, (42.88,13.53), x_reflection=True))
schottkyposchargepump.add(gdstk.Reference(schottky_nbl1, (48.94,13.53), x_reflection=True))
schottkyposchargepump.add(gdstk.Reference(cmim, (11.37,17.65)))
schottkyposchargepump.add(gdstk.Reference(cmim, (19.87,17.65)))
schottkyposchargepump.add(gdstk.Reference(cmim, (28.37,17.65)))
schottkyposchargepump.add(gdstk.Reference(cmim, (36.87,17.65)))
schottkyposchargepump.add(gdstk.Reference(cmim, (45.37,17.65)))
schottkyposchargepump.add(gdstk.Reference(cmim, (53.87,17.65)))

lib.write_gds('SchottkyPosChargePump.gds')
